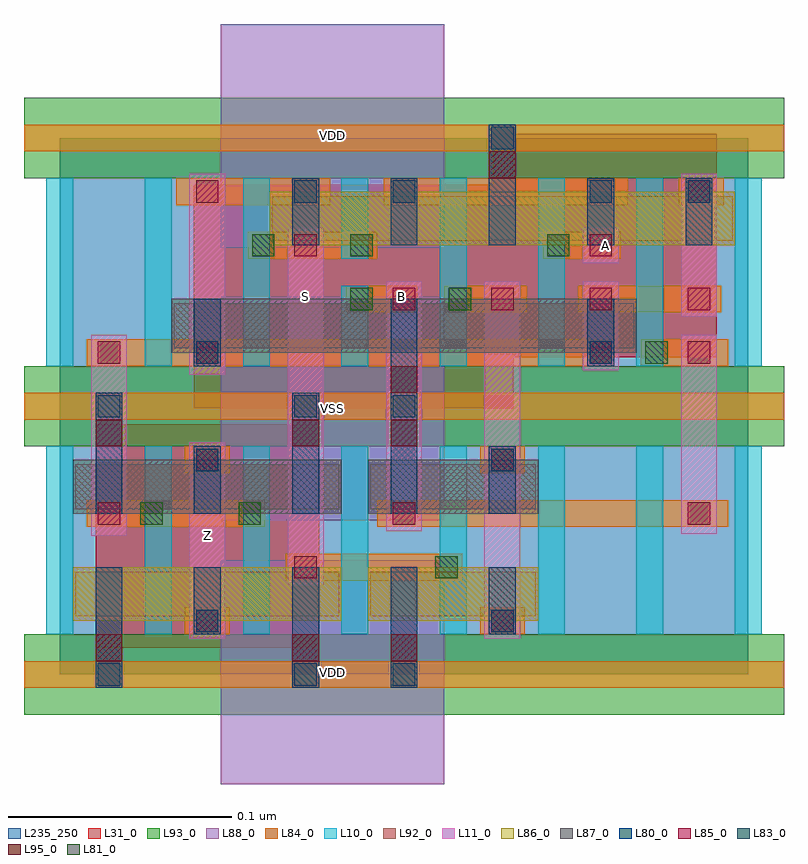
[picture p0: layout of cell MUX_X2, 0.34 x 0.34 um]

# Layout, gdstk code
import gdstk
lib = gdstk.Library(unit=1e-6, precision=1e-09)
def R(c, l, rs):  # rectangles x0, y0, x1, y1
    for r in rs: c.add(gdstk.rectangle(r[:2], r[2:], *l))
def A(c, l, x, y, w, h, nx, ny, dx, dy):  # array of equal rectangles
    R(c, l, [(x+i*dx, y+j*dy, x+i*dx+w, y+j*dy+h) for i in range(nx) for j in range(ny)])
L10_0 = (10, 0)
L11_0 = (11, 0)
L31_0 = (31, 0)
L80_0 = (80, 0)
L81_0 = (81, 0)
L83_0 = (83, 0)
L84_0 = (84, 0)
L85_0 = (85, 0)
L86_0 = (86, 0)
L87_0 = (87, 0)
L88_0 = (88, 0)
L92_0 = (92, 0)
L93_0 = (93, 0)
L95_0 = (95, 0)
L235_250 = (235, 250)

mux_x2 = lib.new_cell('MUX_X2')
A(mux_x2, L10_0, -0.006, 0.018, 0.012, 0.084, 8, 1, 0.044, 0)
A(mux_x2, L10_0, -0.006, 0.138, 0.012, 0.084, 3, 1, 0.044, 0)
A(mux_x2, L10_0, 0.17, 0.138, 0.012, 0.084, 4, 1, 0.044, 0)
R(mux_x2, L10_0, [(0.126,0.138,0.138,0.174), (0.126,0.186,0.138,0.222)])
R(mux_x2, L11_0, [(0.058,0.016,0.074,0.104), (0.19,0.016,0.206,0.176), (0.102,0.04,0.118,0.2), (0.014,0.062,0.03,0.152), (0.278,0.063,0.294,0.152), (0.146,0.064,0.162,0.176), (0.058,0.134,0.074,0.224), (0.234,0.136,0.25,0.176), (0.278,0.16,0.294,0.224), (0.234,0.184,0.25,0.2)])
R(mux_x2, L31_0, [(0.016,0.012,0.116,0.112), (0.06,0.119,0.16,0.219), (0.103,0.119,0.203,0.219), (0.194,0.142,0.294,0.242)])
R(mux_x2, L80_0, [(0.016,-0.006,0.028,0.048), (0.104,-0.006,0.116,0.048), (0.148,-0.006,0.16,0.048), (0.06,0.018,0.072,0.048), (0.192,0.018,0.204,0.048), (0.016,0.072,0.028,0.126), (0.06,0.072,0.072,0.102), (0.104,0.072,0.116,0.126), (0.148,0.072,0.16,0.168), (0.192,0.072,0.204,0.102), (0.06,0.138,0.072,0.168), (0.236,0.138,0.248,0.168), (0.104,0.192,0.116,0.222), (0.148,0.192,0.16,0.222), (0.192,0.192,0.204,0.246), (0.236,0.192,0.248,0.222), (0.28,0.192,0.292,0.222)])
R(mux_x2, L81_0, [(0.168,0.043,0.178,0.053), (0.036,0.067,0.046,0.077), (0.08,0.067,0.09,0.077), (0.262,0.139,0.272,0.149), (0.13,0.163,0.14,0.173), (0.174,0.163,0.184,0.173), (0.086,0.187,0.096,0.197), (0.13,0.187,0.14,0.197), (0.218,0.187,0.228,0.197)])
R(mux_x2, L83_0, [(0.017,-0.005,0.027,0.005), (0.105,-0.005,0.115,0.005), (0.149,-0.005,0.159,0.005), (0.061,0.019,0.071,0.029), (0.193,0.019,0.203,0.029), (0.061,0.091,0.071,0.101), (0.193,0.091,0.203,0.101), (0.017,0.115,0.027,0.125), (0.105,0.115,0.115,0.125), (0.149,0.115,0.159,0.125), (0.061,0.139,0.071,0.149), (0.237,0.139,0.247,0.149), (0.105,0.211,0.115,0.221), (0.149,0.211,0.159,0.221), (0.237,0.211,0.247,0.221), (0.281,0.211,0.291,0.221), (0.193,0.235,0.203,0.245)])
A(mux_x2, L84_0, -0.016, -0.006, 0.34, 0.012, 1, 3, 0, 0.12)
R(mux_x2, L84_0, [(0.056,0.018,0.076,0.03), (0.188,0.018,0.208,0.03), (0.101,0.042,0.18,0.054), (0.012,0.066,0.092,0.078), (0.142,0.066,0.299,0.078), (0.056,0.09,0.076,0.102), (0.188,0.09,0.208,0.102), (0.012,0.138,0.248,0.15), (0.26,0.138,0.299,0.15), (0.128,0.162,0.16,0.174), (0.172,0.162,0.209,0.174), (0.232,0.162,0.296,0.174), (0.084,0.186,0.142,0.198), (0.216,0.186,0.251,0.198), (0.052,0.21,0.121,0.222), (0.145,0.21,0.254,0.222), (0.277,0.21,0.297,0.222)])
A(mux_x2, L85_0, 0.017, 0.067, 0.01, 0.01, 3, 1, 0.132, 0)
A(mux_x2, L85_0, 0.149, 0.163, 0.01, 0.01, 4, 1, 0.044, 0)
R(mux_x2, L85_0, [(0.061,0.019,0.071,0.029), (0.193,0.019,0.203,0.029), (0.105,0.043,0.115,0.053), (0.061,0.091,0.071,0.101), (0.193,0.091,0.203,0.101), (0.017,0.139,0.027,0.149), (0.061,0.139,0.071,0.149), (0.237,0.139,0.247,0.149), (0.281,0.139,0.291,0.149), (0.105,0.187,0.115,0.197), (0.237,0.187,0.247,0.197), (0.061,0.211,0.071,0.221), (0.281,0.211,0.291,0.221)])
R(mux_x2, L86_0, [(0.006,0.024,0.126,0.048), (0.138,0.024,0.214,0.048), (0.094,0.192,0.302,0.216)])
R(mux_x2, L87_0, [(0.006,0.072,0.126,0.096), (0.138,0.072,0.214,0.096), (0.05,0.144,0.258,0.168)])
R(mux_x2, L88_0, [(0.072,-0.049,0.172,0.051), (0.072,0.069,0.172,0.169), (0.072,0.191,0.172,0.291)])
R(mux_x2, L92_0, [(0.007,0.026,0.125,0.046), (0.139,0.026,0.213,0.046), (0.007,0.074,0.125,0.094), (0.139,0.074,0.213,0.094), (0.051,0.146,0.257,0.166), (0.095,0.194,0.301,0.214)])
A(mux_x2, L93_0, -0.016, -0.018, 0.34, 0.036, 1, 3, 0, 0.12)
R(mux_x2, L95_0, [(0.016,0.006,0.028,0.018), (0.104,0.006,0.116,0.018), (0.148,0.006,0.16,0.018), (0.016,0.102,0.028,0.114), (0.104,0.102,0.116,0.114), (0.148,0.102,0.16,0.114), (0.148,0.126,0.16,0.138), (0.192,0.222,0.204,0.234)])
R(mux_x2, L235_250, [(0,0,0.308,0.24)])
mux_x2.add(gdstk.Label('A', (0.244,0.192), layer=31, texttype=0))
mux_x2.add(gdstk.Label('S', (0.11,0.169), layer=31, texttype=0))
mux_x2.add(gdstk.Label('B', (0.153,0.169), layer=31, texttype=0))
mux_x2.add(gdstk.Label('Z', (0.066,0.062), layer=31, texttype=0))
mux_x2.add(gdstk.Label('VDD', (0.122,0.001), layer=88, texttype=0))
mux_x2.add(gdstk.Label('VDD', (0.122,0.241), layer=88, texttype=0))
mux_x2.add(gdstk.Label('VSS', (0.122,0.119), layer=88, texttype=0))

lib.write_gds('MUX_X2.gds')
